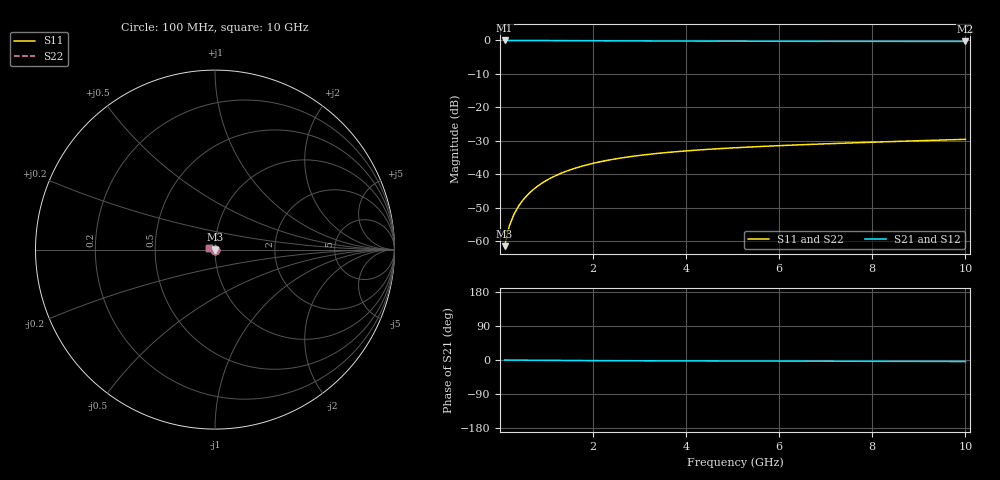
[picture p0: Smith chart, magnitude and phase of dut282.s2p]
! Touchstone file exported from HFSS 2024.1.0
!  File:  C:/UserFiles/LocalFiles/RDL_TSV_Batchsim/temp_TSV1_282_1778770359.aedt
!  Generated:  10:57:42 PM May 14, 2026
!  Design:  TSV1
!  Project:  temp_TSV1_282_1778770359
!  Setup:  Setup1
!  Solution:  Sweep
! Variables:
!  dtsv = 10.26um
!  hbump = 3um
!  htsv = 56.88um
!  lrdl = 252.1521522um
!  p = 40
!  p1 = 58.49um
!  t = 500um
!  trdl = 3um
!  wrdl = 24.89489489um
# GHz S MA R 50.000000
! Terminal data exported
! Port[1] = TSV22_T1
! Port[2] = TSV22_T2
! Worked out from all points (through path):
!   100 points, 100 MHz to 10 GHz, reference 50 ohm
!   highest |S21| = 0.00 dB at 100 MHz (marker M1); lowest = -0.3 dB at 10 GHz (marker M2)
!   lowest |S11| = -61.4 dB at 100 MHz (marker M3), VSWR 1.00, Z = 50 - j0.0844 ohm
!   |S11| at or under -10 dB: start of sweep to end of sweep
!   |S22| runs from -61.4 to -29.5 dB; largest |S21 - S12| = 4.1e-15
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0.1  0.0008477 -84.6  0.9999 -0.1  0.9999 -0.1  0.0008477 -84.6
! Gamma 0 0 0 0
! Port Impedance 50 0 50 0
0.2  0.001687 -90.4  0.9997 -0.2  0.9997 -0.2  0.001687 -90.4
0.3  0.002527 -93.7  0.9996 -0.3  0.9996 -0.3  0.002527 -93.7
0.4  0.003363 -96.6  0.9993 -0.4  0.9993 -0.4  0.003363 -96.6
0.5  0.004191 -99.1  0.999 -0.5  0.999 -0.5  0.004191 -99.1
0.6  0.005009 -101.5  0.9987 -0.6  0.9987 -0.6  0.005009 -101.5
0.7  0.005814 -103.9  0.9983 -0.7  0.9983 -0.7  0.005814 -103.9
0.8  0.006604 -106.1  0.9978 -0.7  0.9978 -0.7  0.006604 -106.1
0.9  0.007379 -108.3  0.9973 -0.8  0.9973 -0.8  0.007379 -108.3
1.1  0.008875 -112.6  0.9962 -1.0  0.9962 -1.0  0.008875 -112.6
1.4  0.01098 -118.6  0.9944 -1.2  0.9944 -1.2  0.01098 -118.6
1.6  0.01227 -122.4  0.993 -1.3  0.993 -1.3  0.01227 -122.4
1.8  0.01349 -126.1  0.9917 -1.5  0.9917 -1.5  0.01349 -126.1
2.1  0.01516 -131.3  0.9896 -1.6  0.9896 -1.6  0.01516 -131.3
2.5  0.01712 -137.7  0.9869 -1.8  0.9869 -1.8  0.01712 -137.7
2.9  0.01882 -143.5  0.9844 -2.0  0.9844 -2.0  0.01882 -143.5
3.4  0.02062 -150.1  0.9816 -2.2  0.9816 -2.2  0.02062 -150.1
4.2  0.02297 -159.3  0.9779 -2.4  0.9779 -2.4  0.02297 -159.3
5.1  0.02508 -168.1  0.9747 -2.7  0.9747 -2.7  0.02508 -168.1
6.7  0.0281 179.2  0.9707 -3.1  0.9707 -3.1  0.0281 179.2
8.4  0.03087 168.5  0.968 -3.5  0.968 -3.5  0.03087 168.5
10  0.03337 160.2  0.9664 -4.0  0.9664 -4.0  0.03337 160.2
